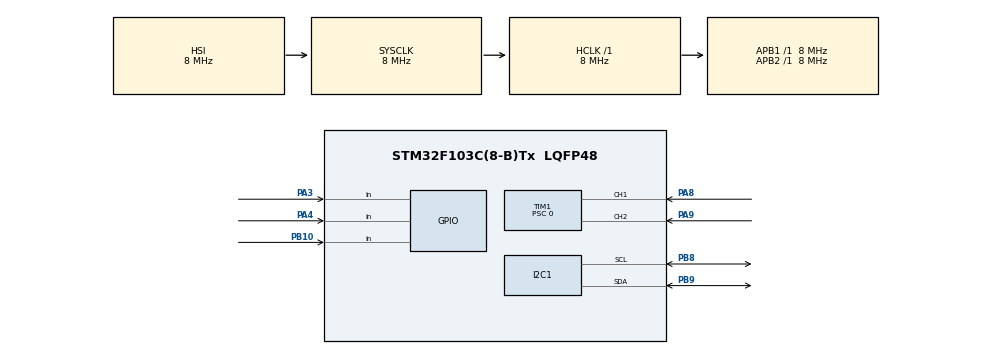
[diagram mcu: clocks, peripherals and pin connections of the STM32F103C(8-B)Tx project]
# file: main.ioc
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I2C1.I2C_Mode=I2C_Fast
Mcu.Family=STM32F1
Mcu.Name=STM32F103C(8-B)Tx
Mcu.Package=LQFP48
NVIC.PriorityGroup=NVIC_PRIORITYGROUP_4
PA13.Mode=Serial_Wire
PA13.Signal=SYS_JTMS-SWDIO
PA14.Mode=Serial_Wire
PA14.Signal=SYS_JTCK-SWCLK
PA3.GPIO_PuPd=GPIO_PULLUP
PA3.Signal=GPIO_Input
PA4.GPIO_PuPd=GPIO_PULLUP
PA4.Signal=GPIO_Input
PA8.GPIO_Mode=GPIO_MODE_INPUT
PA8.GPIO_PuPd=GPIO_PULLUP
PA8.Signal=S_TIM1_CH1
PA9.GPIO_Mode=GPIO_MODE_INPUT
PA9.GPIO_PuPd=GPIO_PULLUP
PA9.Signal=S_TIM1_CH2
PB10.GPIO_PuPd=GPIO_PULLUP
PB10.Signal=GPIO_Input
PB8.Mode=I2C
PB8.Signal=I2C1_SCL
PB9.Mode=I2C
PB9.Signal=I2C1_SDA
ProjectManager.HeapSize=0x200
ProjectManager.StackSize=0x400
ProjectManager.TargetToolchain=Makefile
RCC.AHBFreq_Value=8000000
RCC.APB1Freq_Value=8000000
RCC.APB1TimFreq_Value=8000000
RCC.APB2Freq_Value=8000000
RCC.APB2TimFreq_Value=8000000
RCC.HCLKFreq_Value=8000000
RCC.SYSCLKFreq_VALUE=8000000
RCC.USBFreq_Value=8000000
SH.S_TIM1_CH1.0=TIM1_CH1,Encoder_Interface
SH.S_TIM1_CH2.0=TIM1_CH2,Encoder_Interface
TIM1.ClockDivision=TIM_CLOCKDIVISION_DIV1
TIM1.CounterMode=TIM_COUNTERMODE_UP
TIM1.EncoderMode=TIM_ENCODERMODE_TI1
TIM1.IC1Filter=0
TIM1.IC2Filter=0
TIM1.Period=65535
TIM1.Prescaler=0
board=stm32-si5351-vfo

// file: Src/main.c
/* USER CODE BEGIN Header */
/**
  ******************************************************************************
  * @file           : main.c
  * @brief          : Main program body
  ******************************************************************************
  ** This notice applies to any and all portions of this file
  * that are not between comment pairs USER CODE BEGIN and
  * USER CODE END. Other portions of this file, whether
  * inserted by the user or by software development tools
  * are owned by their respective copyright owners.
  *
  * COPYRIGHT(c) 2020 STMicroelectronics
  *
  * Redistribution and use in source and binary forms, with or without modification,
  * are permitted provided that the following conditions are met:
  *   1. Redistributions of source code must retain the above copyright notice,
  *      this list of conditions and the following disclaimer.
  *   2. Redistributions in binary form must reproduce the above copyright notice,
  *      this list of conditions and the following disclaimer in the documentation
  *      and/or other materials provided with the distribution.
  *   3. Neither the name of STMicroelectronics nor the names of its contributors
  *      may be used to endorse or promote products derived from this software
  *      without specific prior written permission.
  *
  * THIS SOFTWARE IS PROVIDED BY THE COPYRIGHT HOLDERS AND CONTRIBUTORS "AS IS"
  * AND ANY EXPRESS OR IMPLIED WARRANTIES, INCLUDING, BUT NOT LIMITED TO, THE
  * IMPLIED WARRANTIES OF MERCHANTABILITY AND FITNESS FOR A PARTICULAR PURPOSE ARE
  * DISCLAIMED. IN NO EVENT SHALL THE COPYRIGHT HOLDER OR CONTRIBUTORS BE LIABLE
  * FOR ANY DIRECT, INDIRECT, INCIDENTAL, SPECIAL, EXEMPLARY, OR CONSEQUENTIAL
  * DAMAGES (INCLUDING, BUT NOT LIMITED TO, PROCUREMENT OF SUBSTITUTE GOODS OR
  * SERVICES; LOSS OF USE, DATA, OR PROFITS; OR BUSINESS INTERRUPTION) HOWEVER
  * CAUSED AND ON ANY THEORY OF LIABILITY, WHETHER IN CONTRACT, STRICT LIABILITY,
  * OR TORT (INCLUDING NEGLIGENCE OR OTHERWISE) ARISING IN ANY WAY OUT OF THE USE
  * OF THIS SOFTWARE, EVEN IF ADVISED OF THE POSSIBILITY OF SUCH DAMAGE.
  *
  ******************************************************************************
  */
/* USER CODE END Header */

#include "main.h"

/* USER CODE BEGIN Includes */
#include <string.h>
#include <stdbool.h>
#include <stdlib.h>
#include "si5351.h"
#include "lcd.h"
/* USER CODE END Includes */

I2C_HandleTypeDef hi2c1;

TIM_HandleTypeDef htim1;

/* USER CODE BEGIN PV */
/* Private variables ---------------------------------------------------------*/

/* USER CODE END PV */

void SystemClock_Config(void);
static void MX_GPIO_Init(void);
static void MX_TIM1_Init(void);
static void MX_I2C1_Init(void);
/* USER CODE BEGIN PFP */
/* Private function prototypes -----------------------------------------------*/

/* USER CODE END PFP */

/* USER CODE BEGIN 0 */

#define CLK0 0
#define CLK2 2
const int32_t si5351_correction = 5245;

typedef enum {
	CURSOR_CHANGING_FREQUENCY = 0,
	CURSOR_CHANGING_POWER,
} CursorChanging_t;

typedef struct {
	uint8_t x;
	uint8_t y;
	uint8_t channel;
	uint32_t frequencyStep;
	CursorChanging_t changing;
} CursorState_t;

const CursorState_t CURSOR_STATES[] = {
	{
		.x = 9, .y = 0, .frequencyStep = 100000000,
		.channel = 0, .changing = CURSOR_CHANGING_FREQUENCY,
	},
	{
		.x = 10, .y = 0, .frequencyStep = 10000000,
		.channel = 0, .changing = CURSOR_CHANGING_FREQUENCY,
	},
	{
		.x = 11, .y = 0, .frequencyStep = 1000000,
		.channel = 0, .changing = CURSOR_CHANGING_FREQUENCY,
	},
	{
		.x = 13, .y = 0, .frequencyStep = 100000,
		.channel = 0, .changing = CURSOR_CHANGING_FREQUENCY,
	},
	{
		.x = 14, .y = 0, .frequencyStep = 10000,
		.channel = 0, .changing = CURSOR_CHANGING_FREQUENCY,
	},
	{
		.x = 15, .y = 0, .frequencyStep = 1000,
		.channel = 0, .changing = CURSOR_CHANGING_FREQUENCY,
	},
	{
		.x = 17, .y = 0, .frequencyStep = 100,
		.channel = 0, .changing = CURSOR_CHANGING_FREQUENCY,
	},
	{
		.x = 18, .y = 0, .frequencyStep = 10,
		.channel = 0, .changing = CURSOR_CHANGING_FREQUENCY,
	},
	{
		.x = 19, .y = 0, .frequencyStep = 1,
		.channel = 0, .changing = CURSOR_CHANGING_FREQUENCY,
	},
	{
		.x = 11, .y = 1, .frequencyStep = 0,
		.channel = 0, .changing = CURSOR_CHANGING_POWER,
	},
	{
		.x = 9, .y = 2, .frequencyStep = 100000000,
		.channel = 1, .changing = CURSOR_CHANGING_FREQUENCY,
	},
	{
		.x = 10, .y = 2, .frequencyStep = 10000000,
		.channel = 1, .changing = CURSOR_CHANGING_FREQUENCY,
	},
	{
		.x = 11, .y = 2, .frequencyStep = 1000000,
		.channel = 1, .changing = CURSOR_CHANGING_FREQUENCY,
	},
	{
		.x = 13, .y = 2, .frequencyStep = 100000,
		.channel = 1, .changing = CURSOR_CHANGING_FREQUENCY,
	},
	{
		.x = 14, .y = 2, .frequencyStep = 10000,
		.channel = 1, .changing = CURSOR_CHANGING_FREQUENCY,
	},
	{
		.x = 15, .y = 2, .frequencyStep = 1000,
		.channel = 1, .changing = CURSOR_CHANGING_FREQUENCY,
	},
	{
		.x = 17, .y = 2, .frequencyStep = 100,
		.channel = 1, .changing = CURSOR_CHANGING_FREQUENCY,
	},
	{
		.x = 18, .y = 2, .frequencyStep = 10,
		.channel = 1, .changing = CURSOR_CHANGING_FREQUENCY,
	},
	{
		.x = 19, .y = 2, .frequencyStep = 1,
		.channel = 1, .changing = CURSOR_CHANGING_FREQUENCY,
	},
	{
		.x = 11, .y = 3, .frequencyStep = 0,
		.channel = 1, .changing = CURSOR_CHANGING_POWER,
	},
};

typedef struct {
	bool enabled;
	si5351DriveStrength_t driveStrength;
} PowerState_t;

const PowerState_t POWER_STATES[] = {
	{ .enabled = false, .driveStrength = SI5351_DRIVE_STRENGTH_2MA },
	{ .enabled = true,  .driveStrength = SI5351_DRIVE_STRENGTH_2MA },
	{ .enabled = true,  .driveStrength = SI5351_DRIVE_STRENGTH_4MA },
	{ .enabled = true,  .driveStrength = SI5351_DRIVE_STRENGTH_6MA },
	{ .enabled = true,  .driveStrength = SI5351_DRIVE_STRENGTH_8MA },
};

typedef struct {
	int32_t frequency;
	int8_t powerState;
} ChannelState_t;

int32_t currentCursorState = 0;
uint8_t modeIQenabled = 0;
ChannelState_t currentChannelStates[2] = {
	{
		.frequency = 10000000,
		.powerState = 0,
	},
	{
		.frequency = 10000000,
		.powerState = 0,
	},
};

void displayCurrentChannelStates() {
	char buff[16];
	for(int i = 0; i < 2; i++) {
		LCD_Goto(i*2, 9);
		if((i == 1) && modeIQenabled) {
			LCD_SendString("=CH1+90\xDF   ");
		} else {
			snprintf(buff, sizeof(buff), "%03ld.%03ld.%03ld",
				currentChannelStates[i].frequency / 1000000,
				(currentChannelStates[i].frequency / 1000) % 1000,
				currentChannelStates[i].frequency % 1000);
			LCD_SendString(buff);
		}

		LCD_Goto(i*2 + 1, 9);
		if(!POWER_STATES[currentChannelStates[i].powerState].enabled) {
			LCD_SendString("OFF");
		} else if(POWER_STATES[currentChannelStates[i].powerState].driveStrength == SI5351_DRIVE_STRENGTH_2MA) {
			LCD_SendString("2MA");
		} else if(POWER_STATES[currentChannelStates[i].powerState].driveStrength == SI5351_DRIVE_STRENGTH_4MA) {
			LCD_SendString("4MA");
		} else if(POWER_STATES[currentChannelStates[i].powerState].driveStrength == SI5351_DRIVE_STRENGTH_6MA) {
			LCD_SendString("6MA");
		} else {
			LCD_SendString("8MA");
		}
	}
}

void updateSi5351Parameters() {
	si5351PLLConfig_t pll_conf;
	si5351OutputConfig_t out_conf;
	uint8_t enabledOutputs = 0;

    si5351_EnableOutputs(0);

    if(modeIQenabled) {
		si5351_CalcIQ(currentChannelStates[0].frequency, &pll_conf, &out_conf);

		uint8_t phaseOffset = (uint8_t)out_conf.div;
		si5351_SetupOutput(0, SI5351_PLL_A, POWER_STATES[currentChannelStates[0].powerState].driveStrength, &out_conf, 0);
		si5351_SetupOutput(2, SI5351_PLL_A, POWER_STATES[currentChannelStates[1].powerState].driveStrength, &out_conf, phaseOffset);
		si5351_SetupPLL(SI5351_PLL_A, &pll_conf);
    } else {
		si5351_Calc(currentChannelStates[0].frequency, &pll_conf, &out_conf);
		si5351_SetupOutput(0, SI5351_PLL_A, POWER_STATES[currentChannelStates[0].powerState].driveStrength, &out_conf, 0);
		si5351_SetupPLL(SI5351_PLL_A, &pll_conf);

		si5351_Calc(currentChannelStates[1].frequency, &pll_conf, &out_conf);
		si5351_SetupOutput(2, SI5351_PLL_B, POWER_STATES[currentChannelStates[1].powerState].driveStrength, &out_conf, 0);
		si5351_SetupPLL(SI5351_PLL_B, &pll_conf);
	}

	if(POWER_STATES[currentChannelStates[0].powerState].enabled) {
		enabledOutputs |= (1 << CLK0);
	}

	if(POWER_STATES[currentChannelStates[1].powerState].enabled) {
		enabledOutputs |= (1 << CLK2);
	}

	si5351_EnableOutputs(enabledOutputs);
}

#define BUTTON_DEBOUNCE_TIME_MS 300
typedef enum {
    BUTTON_PRESSED = 0,
    BUTTON_RELEASED = 1,
    BUTTON_DEBOUNCE = 2,
} ButtonStatus_t;

ButtonStatus_t buttonRotEncoderPressed(uint32_t now) {
    static uint32_t lastPressed = 0;
    if(HAL_GPIO_ReadPin(GPIOB, GPIO_PIN_10) == GPIO_PIN_RESET) {
        if(now - lastPressed > BUTTON_DEBOUNCE_TIME_MS) {
            lastPressed = now;
            return BUTTON_PRESSED;
        } else {
            return BUTTON_DEBOUNCE;
        }
    }
    return BUTTON_RELEASED;
}

bool buttonLeftPressedSimple() {
    return (HAL_GPIO_ReadPin(GPIOA, GPIO_PIN_3) == GPIO_PIN_RESET);
}

ButtonStatus_t buttonLeftPressed(uint32_t now) {
    static uint32_t lastPressed = 0;
    if(HAL_GPIO_ReadPin(GPIOA, GPIO_PIN_3) == GPIO_PIN_RESET) {
        if(now - lastPressed > BUTTON_DEBOUNCE_TIME_MS) {
            lastPressed = now;
            return BUTTON_PRESSED;
        } else {
            return BUTTON_DEBOUNCE;
        }
    }
    return BUTTON_RELEASED;
}

bool buttonRightPressedSimple() {
    return (HAL_GPIO_ReadPin(GPIOA, GPIO_PIN_4) == GPIO_PIN_RESET);
}

ButtonStatus_t buttonRightPressed(uint32_t now) {
    static uint32_t lastPressed = 0;
    if(HAL_GPIO_ReadPin(GPIOA, GPIO_PIN_4) == GPIO_PIN_RESET) {
        if(now - lastPressed > BUTTON_DEBOUNCE_TIME_MS) {
            lastPressed = now;
            return BUTTON_PRESSED;
        } else {
            return BUTTON_DEBOUNCE;
        }
    }
    return BUTTON_RELEASED;
}

#define LOOP_DELAY 5

// returns 0 if rotary encoder was not rotated
int32_t getRotaryEncoderDelta() {
    static int32_t prevCounter = 0;
    int32_t currCounter = __HAL_TIM_GET_COUNTER(&htim1);
    currCounter = 32767 - ((currCounter-1) & 0xFFFF) / 2;
    if(currCounter > 32768/2) {
        // convert ... 32766, 32767, 0, 1, 2 ... into:
        //               ... -2, -1, 0, 1, 2 ...
        // this simplifies `delta` calculation
        currCounter = currCounter-32768;
    }
    if(currCounter != prevCounter) {
        int32_t delta = currCounter-prevCounter;
        prevCounter = currCounter;
        // debounce or skip counter overflow
        if((delta > -10) && (delta < 10)) {
            return delta;
        }
    }

    return 0;
}

void init() {
    LCD_Init();
    LCD_UnderlineEnabled(false);
    HAL_TIM_Encoder_Start(&htim1, TIM_CHANNEL_ALL);

    if(buttonLeftPressedSimple() && buttonRightPressedSimple()) {
		// perform I2C scan
		LCD_Goto(0, 0);
		LCD_SendString("I2C Scan:");
		LCD_Goto(1, 0);
		for(uint16_t i = 0; i < 128; i++) {
			HAL_StatusTypeDef res;
			res = HAL_I2C_IsDeviceReady(&hi2c1, i << 1, 1, 10);
			if(res == HAL_OK) {
				char msg[64];
				snprintf(msg, sizeof(msg), "%02X ", i);
				LCD_SendString(msg);
			}
		}
		HAL_Delay(3000);
		LCD_Clear();
	}

    LCD_Goto(0, 0);
    LCD_SendString("   STM32 & Si5351   ");
    LCD_Goto(1, 0);
    LCD_SendString("  Signal Generator  ");
    LCD_Goto(2, 0);
    LCD_SendString("   by Alex, R2AUK   ");
    LCD_Goto(3, 0);
    LCD_SendString("      Sep 2021      ");
    HAL_Delay(3000);
    LCD_Clear();

    LCD_Goto(0, 0);
    LCD_SendString("CH1 Freq ???.???.???");
    LCD_Goto(1, 0);
    LCD_SendString("    Pwr  ???        ");
    LCD_Goto(2, 0);
    LCD_SendString("CH2 Freq ???.???.???");
    LCD_Goto(3, 0);
    LCD_SendString("    Pwr  ???        ");
    LCD_Goto(0, 11);
    LCD_UnderlineEnabled(true);

    si5351_Init(si5351_correction);
	updateSi5351Parameters();
	displayCurrentChannelStates();
}

void loop() {
	static uint32_t lastModeChangeTime = 0;
	uint32_t now = HAL_GetTick();
	int32_t delta = getRotaryEncoderDelta();

	if(delta != 0) {
		uint8_t ch = CURSOR_STATES[currentCursorState].channel;
		switch(CURSOR_STATES[currentCursorState].changing) {
		case CURSOR_CHANGING_FREQUENCY:
			currentChannelStates[ch].frequency += delta*CURSOR_STATES[currentCursorState].frequencyStep;
			if(modeIQenabled) {
				if(currentChannelStates[ch].frequency < 1400000) {
					currentChannelStates[ch].frequency = 1400000;
				} else if(currentChannelStates[ch].frequency > 100000000) {
					currentChannelStates[ch].frequency = 100000000;
				}
			} else {
				if(currentChannelStates[ch].frequency < 8000) {
					currentChannelStates[ch].frequency = 8000;
				} else if(currentChannelStates[ch].frequency > 160000000) {
					currentChannelStates[ch].frequency = 160000000;
				}
			}
			break;
		case CURSOR_CHANGING_POWER:
			currentChannelStates[ch].powerState += delta;
			if(currentChannelStates[ch].powerState < 0) {
				currentChannelStates[ch].powerState = sizeof(POWER_STATES)/sizeof(POWER_STATES[0]) - 1;
			} else if(currentChannelStates[ch].powerState >= sizeof(POWER_STATES)/sizeof(POWER_STATES[0])) {
				currentChannelStates[ch].powerState = 0;
			}

			break;
		}

		updateSi5351Parameters();
		displayCurrentChannelStates();
	}

	if(!modeIQenabled && (buttonRotEncoderPressed(now) == BUTTON_PRESSED)) {
		int32_t threshold = (sizeof(CURSOR_STATES)/sizeof(CURSOR_STATES[0])) / 2;
		if(currentCursorState >= threshold) {
			currentCursorState -= threshold;
		} else {
			currentCursorState += threshold;
		}
	}

	if(buttonLeftPressedSimple() && buttonRightPressedSimple() && (now - lastModeChangeTime > BUTTON_DEBOUNCE_TIME_MS)) {
		modeIQenabled = !modeIQenabled;
		currentChannelStates[0].powerState = 0; // turn OFF both channels
		currentChannelStates[1].powerState = 0;
		lastModeChangeTime = now;

		if(modeIQenabled) {
			currentCursorState = 0;

			if(currentChannelStates[0].frequency < 1400000) {
				currentChannelStates[0].frequency = 1400000;
			} else if(currentChannelStates[0].frequency > 100000000) {
				currentChannelStates[0].frequency = 100000000;
			}
		}

		updateSi5351Parameters();
		displayCurrentChannelStates();
	} else {
		uint8_t leftPressed = (buttonLeftPressed(now) == BUTTON_PRESSED);
		uint8_t rightPressed = (buttonRightPressed(now) == BUTTON_PRESSED);

		do {
			if(leftPressed) {
				currentCursorState--;
			} else if(rightPressed) {
				currentCursorState++;
			}

			if(currentCursorState < 0) {
				currentCursorState = sizeof(CURSOR_STATES)/sizeof(CURSOR_STATES[0]) - 1;
			}

			if(currentCursorState >= sizeof(CURSOR_STATES)/sizeof(CURSOR_STATES[0])) {
				currentCursorState = 0;
			}
		} while(modeIQenabled &&
			(CURSOR_STATES[currentCursorState].channel == 1) &&
			(CURSOR_STATES[currentCursorState].changing == CURSOR_CHANGING_FREQUENCY));
	}

	LCD_Goto(CURSOR_STATES[currentCursorState].y, CURSOR_STATES[currentCursorState].x);

    HAL_Delay(LOOP_DELAY);
}

/* USER CODE END 0 */

int main(void)
{

  /* MCU Configuration--------------------------------------------------------*/

  /* Reset of all peripherals, Initializes the Flash interface and the Systick. */
  HAL_Init();

  /* Configure the system clock */
  SystemClock_Config();

  /* Initialize all configured peripherals */
  MX_GPIO_Init();
  MX_TIM1_Init();
  MX_I2C1_Init();
  /* USER CODE BEGIN 2 */
  init();
  /* USER CODE END 2 */

  /* Infinite loop */
  /* USER CODE BEGIN WHILE */
  while (1)
  {
    loop();
    /* USER CODE END WHILE */

  }
}

void SystemClock_Config(void)
{
  RCC_OscInitTypeDef RCC_OscInitStruct = {0};
  RCC_ClkInitTypeDef RCC_ClkInitStruct = {0};

  /**Initializes the CPU, AHB and APB busses clocks
  */
  RCC_OscInitStruct.OscillatorType = RCC_OSCILLATORTYPE_HSI;
  RCC_OscInitStruct.HSIState = RCC_HSI_ON;
  RCC_OscInitStruct.HSICalibrationValue = RCC_HSICALIBRATION_DEFAULT;
  RCC_OscInitStruct.PLL.PLLState = RCC_PLL_NONE;
  if (HAL_RCC_OscConfig(&RCC_OscInitStruct) != HAL_OK)
  {
    Error_Handler();
  }
  /**Initializes the CPU, AHB and APB busses clocks
  */
  RCC_ClkInitStruct.ClockType = RCC_CLOCKTYPE_HCLK|RCC_CLOCKTYPE_SYSCLK
                              |RCC_CLOCKTYPE_PCLK1|RCC_CLOCKTYPE_PCLK2;
  RCC_ClkInitStruct.SYSCLKSource = RCC_SYSCLKSOURCE_HSI;
  RCC_ClkInitStruct.AHBCLKDivider = RCC_SYSCLK_DIV1;
  RCC_ClkInitStruct.APB1CLKDivider = RCC_HCLK_DIV1;
  RCC_ClkInitStruct.APB2CLKDivider = RCC_HCLK_DIV1;

  if (HAL_RCC_ClockConfig(&RCC_ClkInitStruct, FLASH_LATENCY_0) != HAL_OK)
  {
    Error_Handler();
  }
}

static void MX_I2C1_Init(void)
{

  hi2c1.Instance = I2C1;
  hi2c1.Init.ClockSpeed = 400000;
  hi2c1.Init.DutyCycle = I2C_DUTYCYCLE_2;
  hi2c1.Init.OwnAddress1 = 0;
  hi2c1.Init.AddressingMode = I2C_ADDRESSINGMODE_7BIT;
  hi2c1.Init.DualAddressMode = I2C_DUALADDRESS_DISABLE;
  hi2c1.Init.OwnAddress2 = 0;
  hi2c1.Init.GeneralCallMode = I2C_GENERALCALL_DISABLE;
  hi2c1.Init.NoStretchMode = I2C_NOSTRETCH_DISABLE;
  if (HAL_I2C_Init(&hi2c1) != HAL_OK)
  {
    Error_Handler();
  }

}

static void MX_TIM1_Init(void)
{

  TIM_Encoder_InitTypeDef sConfig = {0};
  TIM_MasterConfigTypeDef sMasterConfig = {0};

  htim1.Instance = TIM1;
  htim1.Init.Prescaler = 0;
  htim1.Init.CounterMode = TIM_COUNTERMODE_UP;
  htim1.Init.Period = 65535;
  htim1.Init.ClockDivision = TIM_CLOCKDIVISION_DIV1;
  htim1.Init.RepetitionCounter = 0;
  htim1.Init.AutoReloadPreload = TIM_AUTORELOAD_PRELOAD_DISABLE;
  sConfig.EncoderMode = TIM_ENCODERMODE_TI1;
  sConfig.IC1Polarity = TIM_ICPOLARITY_RISING;
  sConfig.IC1Selection = TIM_ICSELECTION_DIRECTTI;
  sConfig.IC1Prescaler = TIM_ICPSC_DIV1;
  sConfig.IC1Filter = 0;
  sConfig.IC2Polarity = TIM_ICPOLARITY_RISING;
  sConfig.IC2Selection = TIM_ICSELECTION_DIRECTTI;
  sConfig.IC2Prescaler = TIM_ICPSC_DIV1;
  sConfig.IC2Filter = 0;
  if (HAL_TIM_Encoder_Init(&htim1, &sConfig) != HAL_OK)
  {
    Error_Handler();
  }
  sMasterConfig.MasterOutputTrigger = TIM_TRGO_RESET;
  sMasterConfig.MasterSlaveMode = TIM_MASTERSLAVEMODE_DISABLE;
  if (HAL_TIMEx_MasterConfigSynchronization(&htim1, &sMasterConfig) != HAL_OK)
  {
    Error_Handler();
  }

}

static void MX_GPIO_Init(void)
{
  GPIO_InitTypeDef GPIO_InitStruct = {0};

  /* GPIO Ports Clock Enable */
  __HAL_RCC_GPIOA_CLK_ENABLE();
  __HAL_RCC_GPIOB_CLK_ENABLE();

  /*Configure GPIO pins : PA3 PA4 */
  GPIO_InitStruct.Pin = GPIO_PIN_3|GPIO_PIN_4;
  GPIO_InitStruct.Mode = GPIO_MODE_INPUT;
  GPIO_InitStruct.Pull = GPIO_PULLUP;
  HAL_GPIO_Init(GPIOA, &GPIO_InitStruct);

  /*Configure GPIO pin : PB10 */
  GPIO_InitStruct.Pin = GPIO_PIN_10;
  GPIO_InitStruct.Mode = GPIO_MODE_INPUT;
  GPIO_InitStruct.Pull = GPIO_PULLUP;
  HAL_GPIO_Init(GPIOB, &GPIO_InitStruct);

}

void Error_Handler(void)
{
  while(1)
  {
  }
}

/************************ (C) COPYRIGHT STMicroelectronics *****END OF FILE****/
